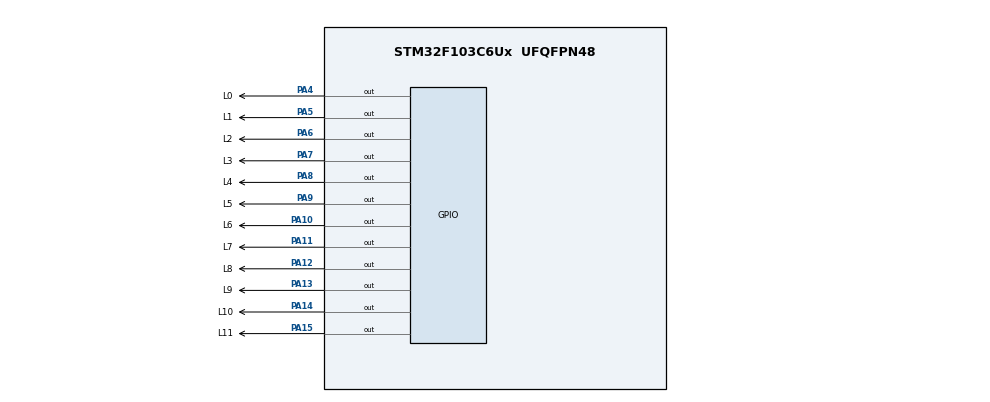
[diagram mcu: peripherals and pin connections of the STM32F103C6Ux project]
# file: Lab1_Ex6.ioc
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Mcu.Family=STM32F1
Mcu.Name=STM32F103C6Ux
Mcu.Package=UFQFPN48
NVIC.PriorityGroup=NVIC_PRIORITYGROUP_4
PA10.GPIO_Label=L6
PA10.Signal=GPIO_Output
PA11.GPIO_Label=L7
PA11.Signal=GPIO_Output
PA12.GPIO_Label=L8
PA12.Signal=GPIO_Output
PA13.GPIO_Label=L9
PA13.Signal=GPIO_Output
PA14.GPIO_Label=L10
PA14.Signal=GPIO_Output
PA15.GPIO_Label=L11
PA15.Signal=GPIO_Output
PA4.GPIO_Label=L0
PA4.Signal=GPIO_Output
PA5.GPIO_Label=L1
PA5.Signal=GPIO_Output
PA6.GPIO_Label=L2
PA6.Signal=GPIO_Output
PA7.GPIO_Label=L3
PA7.Signal=GPIO_Output
PA8.GPIO_Label=L4
PA8.Signal=GPIO_Output
PA9.GPIO_Label=L5
PA9.Signal=GPIO_Output
ProjectManager.HeapSize=0x200
ProjectManager.StackSize=0x400
ProjectManager.TargetToolchain=STM32CubeIDE
RCC.APB1Freq_Value=8000000
RCC.APB2Freq_Value=8000000
board=custom

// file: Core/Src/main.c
//APPROVED 27/10/2022
/* USER CODE BEGIN Header */
/**
 ******************************************************************************
 * @file           : main.c
 * @brief          : Main program body
 ******************************************************************************
 * @attention
 *
 * Copyright (c) 2022 STMicroelectronics.
 * All rights reserved.
 *
 * This software is licensed under terms that can be found in the LICENSE file
 * in the root directory of this software component.
 * If no LICENSE file comes with this software, it is provided AS-IS.
 *
 ******************************************************************************
 */
/* USER CODE END Header */
#include "main.h"

void SystemClock_Config(void);
static void MX_GPIO_Init(void);

/* USER CODE BEGIN 0 */
void clearAllClock()
{
  HAL_GPIO_WritePin(L0_GPIO_Port, L0_Pin, GPIO_PIN_SET);
  HAL_GPIO_WritePin(L1_GPIO_Port, L1_Pin, GPIO_PIN_SET);
  HAL_GPIO_WritePin(L2_GPIO_Port, L2_Pin, GPIO_PIN_SET);
  HAL_GPIO_WritePin(L3_GPIO_Port, L3_Pin, GPIO_PIN_SET);
  HAL_GPIO_WritePin(L4_GPIO_Port, L4_Pin, GPIO_PIN_SET);
  HAL_GPIO_WritePin(L5_GPIO_Port, L5_Pin, GPIO_PIN_SET);
  HAL_GPIO_WritePin(L6_GPIO_Port, L6_Pin, GPIO_PIN_SET);
  HAL_GPIO_WritePin(L7_GPIO_Port, L7_Pin, GPIO_PIN_SET);
  HAL_GPIO_WritePin(L8_GPIO_Port, L8_Pin, GPIO_PIN_SET);
  HAL_GPIO_WritePin(L9_GPIO_Port, L9_Pin, GPIO_PIN_SET);
  HAL_GPIO_WritePin(L10_GPIO_Port, L10_Pin, GPIO_PIN_SET);
  HAL_GPIO_WritePin(L11_GPIO_Port, L11_Pin, GPIO_PIN_SET);
}
void clearNumberOnBlock(int num)
{
  switch (num)
  {
  case 0:
    HAL_GPIO_WritePin(L0_GPIO_Port, L0_Pin, GPIO_PIN_SET);
    break;
  case 1:
    HAL_GPIO_WritePin(L1_GPIO_Port, L1_Pin, GPIO_PIN_SET);
    break;
  case 2:
    HAL_GPIO_WritePin(L2_GPIO_Port, L2_Pin, GPIO_PIN_SET);
    break;
  case 3:
    HAL_GPIO_WritePin(L3_GPIO_Port, L3_Pin, GPIO_PIN_SET);
    break;
  case 4:
    HAL_GPIO_WritePin(L4_GPIO_Port, L4_Pin, GPIO_PIN_SET);
    break;
  case 5:
    HAL_GPIO_WritePin(L5_GPIO_Port, L5_Pin, GPIO_PIN_SET);
    break;
  case 6:
    HAL_GPIO_WritePin(L6_GPIO_Port, L6_Pin, GPIO_PIN_SET);
    break;
  case 7:
    HAL_GPIO_WritePin(L7_GPIO_Port, L7_Pin, GPIO_PIN_SET);
    break;
  case 8:
    HAL_GPIO_WritePin(L8_GPIO_Port, L8_Pin, GPIO_PIN_SET);
    break;
  case 9:
    HAL_GPIO_WritePin(L9_GPIO_Port, L9_Pin, GPIO_PIN_SET);
    break;
  case 10:
    HAL_GPIO_WritePin(L10_GPIO_Port, L10_Pin, GPIO_PIN_SET);
    break;
  default:
    HAL_GPIO_WritePin(L11_GPIO_Port, L11_Pin, GPIO_PIN_SET);
  }
}
void setNumberOnBlock(int num)
{
  switch (num)
  {
  case 0:
    HAL_GPIO_WritePin(L0_GPIO_Port, L0_Pin, GPIO_PIN_RESET);
    break;
  case 1:
    HAL_GPIO_WritePin(L1_GPIO_Port, L1_Pin, GPIO_PIN_RESET);
    break;
  case 2:
    HAL_GPIO_WritePin(L2_GPIO_Port, L2_Pin, GPIO_PIN_RESET);
    break;
  case 3:
    HAL_GPIO_WritePin(L3_GPIO_Port, L3_Pin, GPIO_PIN_RESET);
    break;
  case 4:
    HAL_GPIO_WritePin(L4_GPIO_Port, L4_Pin, GPIO_PIN_RESET);
    break;
  case 5:
    HAL_GPIO_WritePin(L5_GPIO_Port, L5_Pin, GPIO_PIN_RESET);
    break;
  case 6:
    HAL_GPIO_WritePin(L6_GPIO_Port, L6_Pin, GPIO_PIN_RESET);
    break;
  case 7:
    HAL_GPIO_WritePin(L7_GPIO_Port, L7_Pin, GPIO_PIN_RESET);
    break;
  case 8:
    HAL_GPIO_WritePin(L8_GPIO_Port, L8_Pin, GPIO_PIN_RESET);
    break;
  case 9:
    HAL_GPIO_WritePin(L9_GPIO_Port, L9_Pin, GPIO_PIN_RESET);
    break;
  case 10:
    HAL_GPIO_WritePin(L10_GPIO_Port, L10_Pin, GPIO_PIN_RESET);
    break;
  default:
    HAL_GPIO_WritePin(L11_GPIO_Port, L11_Pin, GPIO_PIN_RESET);
  }
}
// void setTime(int sec, int min, int hou)
// {
//   clearAllClock();
//   setNumberOnBlock(sec);
//   setNumberOnBlock(min);
//   setNumberOnBlock(hou);
// }
/* USER CODE END 0 */

int main(void)
{

  /* MCU Configuration--------------------------------------------------------*/

  /* Reset of all peripherals, Initializes the Flash interface and the Systick. */
  HAL_Init();

  /* Configure the system clock */
  SystemClock_Config();

  /* Initialize all configured peripherals */
  MX_GPIO_Init();

  /* Infinite loop */
  /* USER CODE BEGIN WHILE */

  int sec = -1;
  int min = 0;
  int hou = 0;
  while (1)
  {
    sec++;
    if (sec >= 12)
    {
      sec = 0;
      min++;
    }
    if (min >= 12)
    {
      min = 0;
      hou = 0;
    }
    if (hou >= 12)
    {
      hou = 0;
    }
    clearAllClock();
    setNumberOnBlock(sec);
    setNumberOnBlock(min);
    setNumberOnBlock(hou);
    HAL_Delay(1000);
  }
  //Lab6, test each single led
	// HAL_GPIO_TogglePin(L1_GPIO_Port, L1_Pin);
	// HAL_Delay(1000);
	// HAL_GPIO_TogglePin(L2_GPIO_Port, L2_Pin);
	// HAL_Delay(1000);
	// HAL_GPIO_TogglePin(L3_GPIO_Port, L3_Pin);
	// HAL_Delay(1000);
	// HAL_GPIO_TogglePin(L4_GPIO_Port, L4_Pin);
	// HAL_Delay(1000);
	// HAL_GPIO_TogglePin(L5_GPIO_Port, L5_Pin);
	// HAL_Delay(1000);
	// HAL_GPIO_TogglePin(L6_GPIO_Port, L6_Pin);
	// HAL_Delay(1000);
	// HAL_GPIO_TogglePin(L7_GPIO_Port, L7_Pin);
	// HAL_Delay(1000);
	// HAL_GPIO_TogglePin(L8_GPIO_Port, L8_Pin);
	// HAL_Delay(1000);
	// HAL_GPIO_TogglePin(L9_GPIO_Port, L9_Pin);
	// HAL_Delay(1000);
	// HAL_GPIO_TogglePin(L10_GPIO_Port, L10_Pin);
	// HAL_Delay(1000);
	// HAL_GPIO_TogglePin(L11_GPIO_Port, L11_Pin);
	// HAL_Delay(1000);
	// HAL_GPIO_TogglePin(L12_GPIO_Port, L12_Pin);
	// HAL_Delay(1000);
}

void SystemClock_Config(void)
{
  RCC_OscInitTypeDef RCC_OscInitStruct = {0};
  RCC_ClkInitTypeDef RCC_ClkInitStruct = {0};

  /** Initializes the RCC Oscillators according to the specified parameters
   * in the RCC_OscInitTypeDef structure.
   */
  RCC_OscInitStruct.OscillatorType = RCC_OSCILLATORTYPE_HSI;
  RCC_OscInitStruct.HSIState = RCC_HSI_ON;
  RCC_OscInitStruct.HSICalibrationValue = RCC_HSICALIBRATION_DEFAULT;
  RCC_OscInitStruct.PLL.PLLState = RCC_PLL_NONE;
  if (HAL_RCC_OscConfig(&RCC_OscInitStruct) != HAL_OK)
  {
    Error_Handler();
  }

  /** Initializes the CPU, AHB and APB buses clocks
   */
  RCC_ClkInitStruct.ClockType = RCC_CLOCKTYPE_HCLK | RCC_CLOCKTYPE_SYSCLK | RCC_CLOCKTYPE_PCLK1 | RCC_CLOCKTYPE_PCLK2;
  RCC_ClkInitStruct.SYSCLKSource = RCC_SYSCLKSOURCE_HSI;
  RCC_ClkInitStruct.AHBCLKDivider = RCC_SYSCLK_DIV1;
  RCC_ClkInitStruct.APB1CLKDivider = RCC_HCLK_DIV1;
  RCC_ClkInitStruct.APB2CLKDivider = RCC_HCLK_DIV1;

  if (HAL_RCC_ClockConfig(&RCC_ClkInitStruct, FLASH_LATENCY_0) != HAL_OK)
  {
    Error_Handler();
  }
}

static void MX_GPIO_Init(void)
{
  GPIO_InitTypeDef GPIO_InitStruct = {0};

  /* GPIO Ports Clock Enable */
  __HAL_RCC_GPIOA_CLK_ENABLE();

  /*Configure GPIO pin Output Level */
  HAL_GPIO_WritePin(GPIOA, L0_Pin | L1_Pin | L2_Pin | L3_Pin | L4_Pin | L5_Pin | L6_Pin | L7_Pin | L8_Pin | L9_Pin | L10_Pin | L11_Pin, GPIO_PIN_RESET);

  /*Configure GPIO pins : L0_Pin L1_Pin L2_Pin L3_Pin
                           L4_Pin L5_Pin L6_Pin L7_Pin
                           L8_Pin L9_Pin L10_Pin L11_Pin */
  GPIO_InitStruct.Pin = L0_Pin | L1_Pin | L2_Pin | L3_Pin | L4_Pin | L5_Pin | L6_Pin | L7_Pin | L8_Pin | L9_Pin | L10_Pin | L11_Pin;
  GPIO_InitStruct.Mode = GPIO_MODE_OUTPUT_PP;
  GPIO_InitStruct.Pull = GPIO_NOPULL;
  GPIO_InitStruct.Speed = GPIO_SPEED_FREQ_LOW;
  HAL_GPIO_Init(GPIOA, &GPIO_InitStruct);
}

void Error_Handler(void)
{
  __disable_irq();
  while (1)
  {
  }
}
